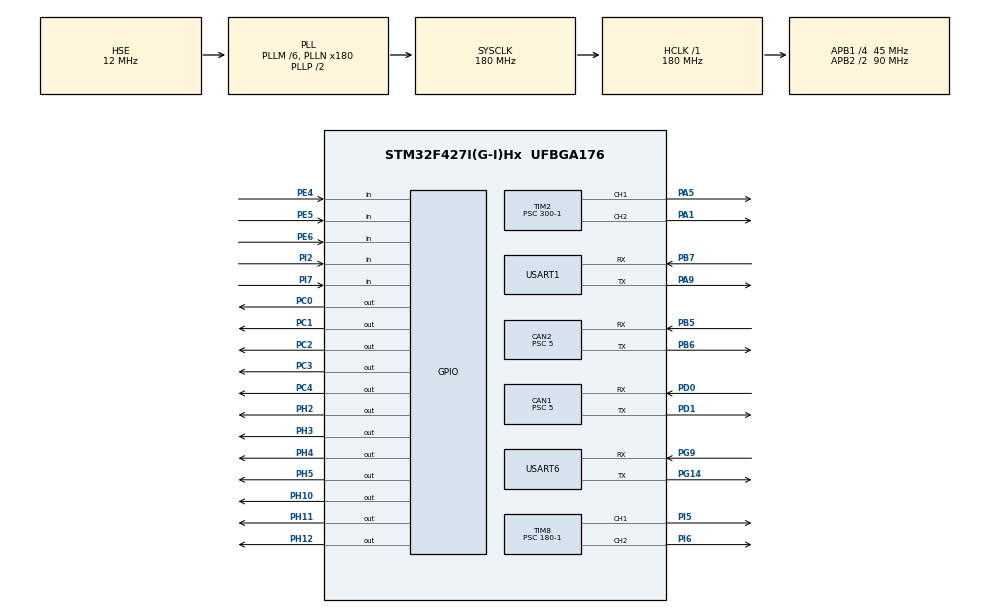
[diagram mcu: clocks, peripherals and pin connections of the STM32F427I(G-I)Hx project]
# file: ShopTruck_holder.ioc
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CAN1.ABOM=ENABLE
CAN1.BS1=CAN_BS1_3TQ
CAN1.BS2=CAN_BS2_5TQ
CAN1.CalculateTimeQuantum=111.11111111111111
CAN1.Prescaler=5
CAN2.ABOM=ENABLE
CAN2.BS1=CAN_BS1_3TQ
CAN2.BS2=CAN_BS2_5TQ
CAN2.CalculateTimeQuantum=111.11111111111111
CAN2.Prescaler=5
Dma.Request0=USART1_RX
Dma.Request1=USART1_TX
Dma.Request2=USART6_RX
Dma.Request3=USART6_TX
Dma.USART1_RX.0.Direction=DMA_PERIPH_TO_MEMORY
Dma.USART1_RX.0.FIFOMode=DMA_FIFOMODE_DISABLE
Dma.USART1_RX.0.Instance=DMA2_Stream2
Dma.USART1_RX.0.MemDataAlignment=DMA_MDATAALIGN_BYTE
Dma.USART1_RX.0.MemInc=DMA_MINC_ENABLE
Dma.USART1_RX.0.Mode=DMA_CIRCULAR
Dma.USART1_RX.0.PeriphDataAlignment=DMA_PDATAALIGN_BYTE
Dma.USART1_RX.0.PeriphInc=DMA_PINC_DISABLE
Dma.USART1_RX.0.Priority=DMA_PRIORITY_LOW
Dma.USART1_TX.1.Direction=DMA_MEMORY_TO_PERIPH
Dma.USART1_TX.1.FIFOMode=DMA_FIFOMODE_DISABLE
Dma.USART1_TX.1.Instance=DMA2_Stream7
Dma.USART1_TX.1.MemDataAlignment=DMA_MDATAALIGN_BYTE
Dma.USART1_TX.1.MemInc=DMA_MINC_ENABLE
Dma.USART1_TX.1.Mode=DMA_CIRCULAR
Dma.USART1_TX.1.PeriphDataAlignment=DMA_PDATAALIGN_BYTE
Dma.USART1_TX.1.PeriphInc=DMA_PINC_DISABLE
Dma.USART1_TX.1.Priority=DMA_PRIORITY_LOW
Dma.USART6_RX.2.Direction=DMA_PERIPH_TO_MEMORY
Dma.USART6_RX.2.FIFOMode=DMA_FIFOMODE_DISABLE
Dma.USART6_RX.2.Instance=DMA2_Stream1
Dma.USART6_RX.2.MemDataAlignment=DMA_MDATAALIGN_BYTE
Dma.USART6_RX.2.MemInc=DMA_MINC_ENABLE
Dma.USART6_RX.2.Mode=DMA_CIRCULAR
Dma.USART6_RX.2.PeriphDataAlignment=DMA_PDATAALIGN_BYTE
Dma.USART6_RX.2.PeriphInc=DMA_PINC_DISABLE
Dma.USART6_RX.2.Priority=DMA_PRIORITY_LOW
Dma.USART6_TX.3.Direction=DMA_MEMORY_TO_PERIPH
Dma.USART6_TX.3.FIFOMode=DMA_FIFOMODE_DISABLE
Dma.USART6_TX.3.Instance=DMA2_Stream6
Dma.USART6_TX.3.MemDataAlignment=DMA_MDATAALIGN_BYTE
Dma.USART6_TX.3.MemInc=DMA_MINC_ENABLE
Dma.USART6_TX.3.Mode=DMA_CIRCULAR
Dma.USART6_TX.3.PeriphDataAlignment=DMA_PDATAALIGN_BYTE
Dma.USART6_TX.3.PeriphInc=DMA_PINC_DISABLE
Dma.USART6_TX.3.Priority=DMA_PRIORITY_LOW
FREERTOS.Tasks01=defaultTask,0,128,StartDefaultTask,Default,NULL
Mcu.Family=STM32F4
Mcu.Name=STM32F427I(G-I)Hx
Mcu.Package=UFBGA176
NVIC.CAN1_RX0_IRQn=true\:5\:0\:false\:false\:true\:true\:true\:true
NVIC.CAN1_TX_IRQn=true\:5\:0\:false\:false\:true\:true\:true\:true
NVIC.CAN2_RX0_IRQn=true\:5\:0\:false\:false\:true\:true\:true\:true
NVIC.CAN2_TX_IRQn=true\:5\:0\:false\:false\:true\:true\:true\:true
NVIC.DMA2_Stream1_IRQn=true\:5\:0\:false\:false\:true\:true\:false\:true
NVIC.DMA2_Stream2_IRQn=true\:5\:0\:false\:false\:true\:true\:false\:true
NVIC.DMA2_Stream6_IRQn=true\:5\:0\:false\:false\:true\:true\:false\:true
NVIC.DMA2_Stream7_IRQn=true\:5\:0\:false\:false\:true\:true\:false\:true
NVIC.PriorityGroup=NVIC_PRIORITYGROUP_4
NVIC.TIM1_UP_TIM10_IRQn=true\:0\:0\:false\:false\:true\:false\:false\:true
NVIC.TimeBase=TIM1_UP_TIM10_IRQn
NVIC.TimeBaseIP=TIM1
NVIC.USART1_IRQn=true\:5\:0\:false\:false\:true\:true\:true\:true
NVIC.USART6_IRQn=true\:5\:0\:false\:false\:true\:true\:true\:true
PA1.Signal=S_TIM2_CH2
PA13.Mode=Serial_Wire
PA13.Signal=SYS_JTMS-SWDIO
PA14.Mode=Serial_Wire
PA14.Signal=SYS_JTCK-SWCLK
PA5.Signal=S_TIM2_CH1_ETR
PA9.Mode=Asynchronous
PA9.Signal=USART1_TX
PB5.Mode=Slave
PB5.Signal=CAN2_RX
PB6.Mode=Slave
PB6.Signal=CAN2_TX
PB7.Mode=Asynchronous
PB7.Signal=USART1_RX
PC0.PinState=GPIO_PIN_SET
PC0.Signal=GPIO_Output
PC1.PinState=GPIO_PIN_SET
PC1.Signal=GPIO_Output
PC2.PinState=GPIO_PIN_SET
PC2.Signal=GPIO_Output
PC3.PinState=GPIO_PIN_SET
PC3.Signal=GPIO_Output
PC4.PinState=GPIO_PIN_SET
PC4.Signal=GPIO_Output
PD0.Mode=Master
PD0.Signal=CAN1_RX
PD1.Mode=Master
PD1.Signal=CAN1_TX
PE4.Signal=GPIO_Input
PE5.Signal=GPIO_Input
PE6.Signal=GPIO_Input
PG14.Mode=Asynchronous
PG14.Signal=USART6_TX
PG9.Mode=Asynchronous
PG9.Signal=USART6_RX
PH0/OSC_IN.Mode=HSE-External-Oscillator
PH0/OSC_IN.Signal=RCC_OSC_IN
PH1/OSC_OUT.Mode=HSE-External-Oscillator
PH1/OSC_OUT.Signal=RCC_OSC_OUT
PH10.PinState=GPIO_PIN_SET
PH10.Signal=GPIO_Output
PH11.PinState=GPIO_PIN_SET
PH11.Signal=GPIO_Output
PH12.PinState=GPIO_PIN_SET
PH12.Signal=GPIO_Output
PH2.PinState=GPIO_PIN_SET
PH2.Signal=GPIO_Output
PH3.PinState=GPIO_PIN_SET
PH3.Signal=GPIO_Output
PH4.PinState=GPIO_PIN_SET
PH4.Signal=GPIO_Output
PH5.PinState=GPIO_PIN_SET
PH5.Signal=GPIO_Output
PI2.Signal=GPIO_Input
PI5.Signal=S_TIM8_CH1
PI6.Signal=S_TIM8_CH2
PI7.Signal=GPIO_Input
ProjectManager.HeapSize=0x200
ProjectManager.StackSize=0x400
ProjectManager.TargetToolchain=MDK-ARM V5.27
RCC.48MHZClocksFreq_Value=90000000
RCC.AHBFreq_Value=180000000
RCC.APB1CLKDivider=RCC_HCLK_DIV4
RCC.APB1Freq_Value=45000000
RCC.APB1TimFreq_Value=90000000
RCC.APB2CLKDivider=RCC_HCLK_DIV2
RCC.APB2Freq_Value=90000000
RCC.APB2TimFreq_Value=180000000
RCC.CortexFreq_Value=180000000
RCC.HCLKFreq_Value=180000000
RCC.HSE_VALUE=12000000
RCC.HSI_VALUE=16000000
RCC.LSE_VALUE=32768
RCC.PLLM=6
RCC.PLLN=180
RCC.PLLSourceVirtual=RCC_PLLSOURCE_HSE
RCC.SYSCLKFreq_VALUE=180000000
RCC.SYSCLKSource=RCC_SYSCLKSOURCE_PLLCLK
RCC.VCOOutputFreq_Value=360000000
SH.S_TIM2_CH1_ETR.0=TIM2_CH1,PWM Generation1 CH1
SH.S_TIM2_CH2.0=TIM2_CH2,PWM Generation2 CH2
SH.S_TIM8_CH1.0=TIM8_CH1,PWM Generation1 CH1
SH.S_TIM8_CH2.0=TIM8_CH2,PWM Generation2 CH2
TIM2.Channel-PWM\ Generation1\ CH1=TIM_CHANNEL_1
TIM2.Channel-PWM\ Generation2\ CH2=TIM_CHANNEL_2
TIM2.Period=1000-1
TIM2.Prescaler=300-1
TIM2.Pulse-PWM\ Generation1\ CH1=400
TIM8.Channel-PWM\ Generation1\ CH1=TIM_CHANNEL_1
TIM8.Channel-PWM\ Generation2\ CH2=TIM_CHANNEL_2
TIM8.Period=20000-1
TIM8.Prescaler=180-1
USART1.VirtualMode=VM_ASYNC
USART6.VirtualMode=VM_ASYNC
VP_FREERTOS_VS_CMSIS_V1.Mode=CMSIS_V1
VP_SYS_VS_tim1.Mode=TIM1
VP_TIM2_VS_ClockSourceINT.Mode=Internal
VP_TIM8_VS_ClockSourceINT.Mode=Internal
board=custom

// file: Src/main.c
/* USER CODE BEGIN Header */
/**
  ******************************************************************************
  * @file           : main.c
  * @brief          : Main program body
  ******************************************************************************
  * @attention
  *
  * <h2><center>&copy; Copyright (c) 2020 STMicroelectronics.
  * All rights reserved.</center></h2>
  *
  * This software component is licensed by ST under Ultimate Liberty license
  * SLA0044, the "License"; You may not use this file except in compliance with
  * the License. You may obtain a copy of the License at:
  *                             www.st.com/SLA0044
  *
  ******************************************************************************
  */
/* USER CODE END Header */

#include "main.h"
#include "cmsis_os.h"
#include "can.h"
#include "dma.h"
#include "tim.h"
#include "usart.h"
#include "gpio.h"

/* USER CODE BEGIN Includes */
#include "bsp_init.h"
/* USER CODE END Includes */

void SystemClock_Config(void);
void MX_FREERTOS_Init(void);

int main(void)
{

  /* MCU Configuration--------------------------------------------------------*/

  /* Reset of all peripherals, Initializes the Flash interface and the Systick. */
  HAL_Init();

  /* Configure the system clock */
  SystemClock_Config();

  /* Initialize all configured peripherals */
  MX_GPIO_Init();
  MX_CAN1_Init();
  MX_CAN2_Init();
  MX_USART1_UART_Init();
  MX_USART6_UART_Init();
  MX_TIM2_Init();
  MX_DMA_Init();
  MX_TIM8_Init();
  /* USER CODE BEGIN 2 */
  init_all();//初始化各类参数
  /* USER CODE END 2 */

  /* Call init function for freertos objects (in freertos.c) */
  MX_FREERTOS_Init();

  /* Start scheduler */
  osKernelStart();

  /* We should never get here as control is now taken by the scheduler */

  /* Infinite loop */
  while (1)
  {

  }
}

void SystemClock_Config(void)
{
  RCC_OscInitTypeDef RCC_OscInitStruct = {0};
  RCC_ClkInitTypeDef RCC_ClkInitStruct = {0};

  /** Configure the main internal regulator output voltage
  */
  __HAL_RCC_PWR_CLK_ENABLE();
  __HAL_PWR_VOLTAGESCALING_CONFIG(PWR_REGULATOR_VOLTAGE_SCALE1);
  /** Initializes the CPU, AHB and APB busses clocks
  */
  RCC_OscInitStruct.OscillatorType = RCC_OSCILLATORTYPE_HSE;
  RCC_OscInitStruct.HSEState = RCC_HSE_ON;
  RCC_OscInitStruct.PLL.PLLState = RCC_PLL_ON;
  RCC_OscInitStruct.PLL.PLLSource = RCC_PLLSOURCE_HSE;
  RCC_OscInitStruct.PLL.PLLM = 6;
  RCC_OscInitStruct.PLL.PLLN = 180;
  RCC_OscInitStruct.PLL.PLLP = RCC_PLLP_DIV2;
  RCC_OscInitStruct.PLL.PLLQ = 4;
  if (HAL_RCC_OscConfig(&RCC_OscInitStruct) != HAL_OK)
  {
    Error_Handler();
  }
  /** Activate the Over-Drive mode
  */
  if (HAL_PWREx_EnableOverDrive() != HAL_OK)
  {
    Error_Handler();
  }
  /** Initializes the CPU, AHB and APB busses clocks
  */
  RCC_ClkInitStruct.ClockType = RCC_CLOCKTYPE_HCLK|RCC_CLOCKTYPE_SYSCLK
                              |RCC_CLOCKTYPE_PCLK1|RCC_CLOCKTYPE_PCLK2;
  RCC_ClkInitStruct.SYSCLKSource = RCC_SYSCLKSOURCE_PLLCLK;
  RCC_ClkInitStruct.AHBCLKDivider = RCC_SYSCLK_DIV1;
  RCC_ClkInitStruct.APB1CLKDivider = RCC_HCLK_DIV4;
  RCC_ClkInitStruct.APB2CLKDivider = RCC_HCLK_DIV2;

  if (HAL_RCC_ClockConfig(&RCC_ClkInitStruct, FLASH_LATENCY_5) != HAL_OK)
  {
    Error_Handler();
  }
}

void HAL_TIM_PeriodElapsedCallback(TIM_HandleTypeDef *htim)
{
  if (htim->Instance == TIM1) {
    HAL_IncTick();
  }
}

void Error_Handler(void)
{
}

/************************ (C) COPYRIGHT STMicroelectronics *****END OF FILE****/

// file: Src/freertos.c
/* USER CODE BEGIN Header */
/**
  ******************************************************************************
  * File Name          : freertos.c
  * Description        : Code for freertos applications
  ******************************************************************************
  * @attention
  *
  * <h2><center>&copy; Copyright (c) 2020 STMicroelectronics.
  * All rights reserved.</center></h2>
  *
  * This software component is licensed by ST under Ultimate Liberty license
  * SLA0044, the "License"; You may not use this file except in compliance with
  * the License. You may obtain a copy of the License at:
  *                             www.st.com/SLA0044
  *
  ******************************************************************************
  */
/* USER CODE END Header */

#include "FreeRTOS.h"
#include "task.h"
#include "main.h"
#include "cmsis_os.h"

/* USER CODE BEGIN Includes */
#include "mytask.h"
/* USER CODE END Includes */

/* USER CODE BEGIN Variables */
osThreadId takeBullteTaskHandle;     // ����ȡ����������ID��
osThreadId holderTaskHandle;     // ������̨��������ID��
osThreadId giveBullteTaskHandle;     // ����������������ID��
osThreadId resueTaskHandle;     // ������Ԯ��������ID����Ԯצ����
/* USER CODE END Variables */
osThreadId defaultTaskHandle;

void StartDefaultTask(void const * argument);

void MX_FREERTOS_Init(void); /* (MISRA C 2004 rule 8.1) */

/* GetIdleTaskMemory prototype (linked to static allocation support) */
void vApplicationGetIdleTaskMemory( StaticTask_t **ppxIdleTaskTCBBuffer, StackType_t **ppxIdleTaskStackBuffer, uint32_t *pulIdleTaskStackSize );

/* USER CODE BEGIN GET_IDLE_TASK_MEMORY */
static StaticTask_t xIdleTaskTCBBuffer;
static StackType_t xIdleStack[configMINIMAL_STACK_SIZE];

void vApplicationGetIdleTaskMemory( StaticTask_t **ppxIdleTaskTCBBuffer, StackType_t **ppxIdleTaskStackBuffer, uint32_t *pulIdleTaskStackSize )
{
  *ppxIdleTaskTCBBuffer = &xIdleTaskTCBBuffer;
  *ppxIdleTaskStackBuffer = &xIdleStack[0];
  *pulIdleTaskStackSize = configMINIMAL_STACK_SIZE;
  /* place for user code */
}
/* USER CODE END GET_IDLE_TASK_MEMORY */

void MX_FREERTOS_Init(void) {

  /* Create the thread(s) */
  /* definition and creation of defaultTask */
  osThreadDef(defaultTask, StartDefaultTask, osPriorityNormal, 0, 128);
  defaultTaskHandle = osThreadCreate(osThread(defaultTask), NULL);

  /* USER CODE BEGIN RTOS_THREADS */
  /* add threads, ... */
	 osThreadDef(takeBullteTask, takeBullteTaskFunction, osPriorityNormal, 0, 128);
   takeBullteTaskHandle = osThreadCreate(osThread(takeBullteTask), NULL);

	 osThreadDef(holderTask, holderTaskFunction, osPriorityNormal, 0, 128);
   holderTaskHandle = osThreadCreate(osThread(holderTask), NULL);

	 osThreadDef(giveBullteTask, giveBullteTaskFunction, osPriorityNormal, 0, 128);
   giveBullteTaskHandle = osThreadCreate(osThread(giveBullteTask), NULL);

	 	osThreadDef(rescueTask,rescueTaskeFunction,osPriorityNormal,0,128);//������Ԯ����
  resueTaskHandle = osThreadCreate(osThread(rescueTask), NULL);
  /* USER CODE END RTOS_THREADS */

}

void StartDefaultTask(void const * argument)
{
  /* USER CODE BEGIN StartDefaultTask */
  /* Infinite loop */
  for(;;)
  {
		HAL_UART_Receive_IT(&huart6,&RXmasge,1);
		deal_masge_get(RXmasge);
		HAL_UART_Transmit(&huart6,&TXmasge,1,10);
    osDelay(1);
  }
  /* USER CODE END StartDefaultTask */
}

/************************ (C) COPYRIGHT STMicroelectronics *****END OF FILE****/
